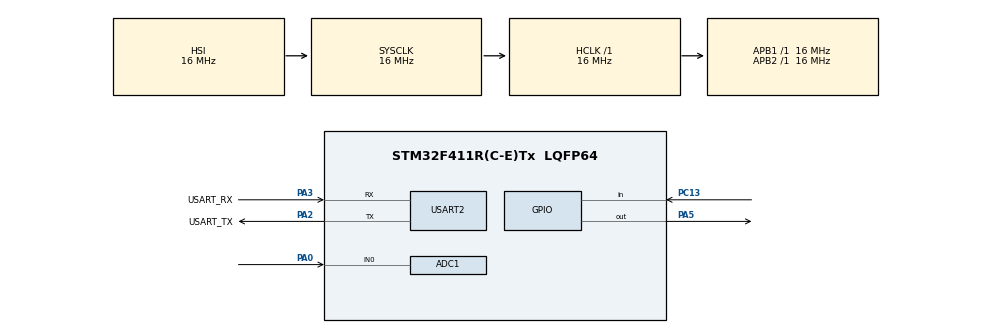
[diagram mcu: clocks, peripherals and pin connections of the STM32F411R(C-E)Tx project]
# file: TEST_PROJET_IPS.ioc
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ADC1.Channel-0\#ChannelRegularConversion=ADC_CHANNEL_0
ADC1.ContinuousConvMode=ENABLE
ADC1.NbrOfConversionFlag=1
ADC1.Rank-0\#ChannelRegularConversion=1
ADC1.SamplingTime-0\#ChannelRegularConversion=ADC_SAMPLETIME_3CYCLES
ADC1.master=1
Mcu.Family=STM32F4
Mcu.Name=STM32F411R(C-E)Tx
Mcu.Package=LQFP64
NVIC.PriorityGroup=NVIC_PRIORITYGROUP_0
NVIC.TIM3_IRQn=true\:0\:0\:false\:false\:true\:true\:true\:true
PA0-WKUP.Signal=ADCx_IN0
PA13.GPIO_Label=TMS
PA13.Mode=Serial_Wire
PA13.Signal=SYS_JTMS-SWDIO
PA14.GPIO_Label=TCK
PA14.Mode=Serial_Wire
PA14.Signal=SYS_JTCK-SWCLK
PA2.GPIO_Label=USART_TX
PA2.Mode=Asynchronous
PA2.Signal=USART2_TX
PA3.GPIO_Label=USART_RX
PA3.Mode=Asynchronous
PA3.Signal=USART2_RX
PA5.Signal=GPIO_Output
PB3.GPIO_Label=SWO
PB3.Signal=SYS_JTDO-SWO
PC13-ANTI_TAMP.Signal=GPIO_Input
PC14-OSC32_IN.Mode=LSE-External-Oscillator
PC14-OSC32_IN.Signal=RCC_OSC32_IN
PC15-OSC32_OUT.Mode=LSE-External-Oscillator
PC15-OSC32_OUT.Signal=RCC_OSC32_OUT
PH0\ -\ OSC_IN.Mode=HSE-External-Clock-Source
PH0\ -\ OSC_IN.Signal=RCC_OSC_IN
PH1\ -\ OSC_OUT.Mode=HSE-External-Clock-Source
PH1\ -\ OSC_OUT.Signal=RCC_OSC_OUT
ProjectManager.HeapSize=0x200
ProjectManager.StackSize=0x400
ProjectManager.TargetToolchain=STM32CubeIDE
RCC.48MHZClocksFreq_Value=32000000
RCC.AHBFreq_Value=16000000
RCC.APB1Freq_Value=16000000
RCC.APB1TimFreq_Value=16000000
RCC.APB2Freq_Value=16000000
RCC.APB2TimFreq_Value=16000000
RCC.CortexFreq_Value=16000000
RCC.FLatency-AdvancedSettings=FLASH_LATENCY_0
RCC.HCLKFreq_Value=16000000
RCC.HSE_VALUE=8000000
RCC.HSI_VALUE=16000000
RCC.PLLI2SM=2
RCC.PLLM=8
RCC.PLLN=64
RCC.SYSCLKFreq_VALUE=16000000
RCC.VCOOutputFreq_Value=128000000
SH.ADCx_IN0.0=ADC1_IN0,IN0
TIM3.Period=10000-1
TIM3.Prescaler=1600-1
USART2.VirtualMode=VM_ASYNC
VP_TIM3_VS_ClockSourceINT.Mode=Internal
board=NUCLEO-F411RE

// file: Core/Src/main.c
/* USER CODE BEGIN Header */
/**
  ******************************************************************************
  * @file           : main.c
  * @brief          : Main program body
  ******************************************************************************
  * @attention
  *
  * Copyright (c) 2023 STMicroelectronics.
  * All rights reserved.
  *
  * This software is licensed under terms that can be found in the LICENSE file
  * in the root directory of this software component.
  * If no LICENSE file comes with this software, it is provided AS-IS.
  *
  ******************************************************************************
  */
/* USER CODE END Header */
#include "main.h"

ADC_HandleTypeDef hadc1;

TIM_HandleTypeDef htim3;

UART_HandleTypeDef huart2;

/* USER CODE BEGIN PV */
double Voltage_Data;
char str[15];
uint32_t ADCValue;
/* USER CODE END PV */

void SystemClock_Config(void);
static void MX_GPIO_Init(void);
static void MX_USART2_UART_Init(void);
static void MX_TIM3_Init(void);
static void MX_ADC1_Init(void);

int main(void)
{

  /* MCU Configuration--------------------------------------------------------*/

  /* Reset of all peripherals, Initializes the Flash interface and the Systick. */
  HAL_Init();

  /* Configure the system clock */
  SystemClock_Config();

  /* Initialize all configured peripherals */
  MX_GPIO_Init();
  MX_USART2_UART_Init();
  MX_TIM3_Init();
  MX_ADC1_Init();
  /* USER CODE BEGIN 2 */
  HAL_TIM_Base_Start_IT(&htim3);
  /* USER CODE END 2 */

  /* Infinite loop */
  /* USER CODE BEGIN WHILE */
  HAL_TIM_Base_Start_IT(&htim3);
  while (1)
  {
	  if (HAL_ADC_PollForConversion(&hadc1, 1000000) == HAL_OK)
	  			{
	  			ADCValue = HAL_ADC_GetValue(&hadc1);
	  			Voltage_Data=	ADCValue*(3.3/4095);
	  			sprintf(str, "Valeur relevé : %d - Voltage : %.2f Vrn", ADCValue, Voltage_Data);
	  			HAL_UART_Transmit_IT(&huart2,(uint8_t*)str,strlen(str));
	  			HAL_Delay(2000);
	  			}
	  else{
		  printf("test");
	  }
    /* USER CODE END WHILE */

  }
}

void SystemClock_Config(void)
{
  RCC_OscInitTypeDef RCC_OscInitStruct = {0};
  RCC_ClkInitTypeDef RCC_ClkInitStruct = {0};

  /** Configure the main internal regulator output voltage
  */
  __HAL_RCC_PWR_CLK_ENABLE();
  __HAL_PWR_VOLTAGESCALING_CONFIG(PWR_REGULATOR_VOLTAGE_SCALE1);

  /** Initializes the RCC Oscillators according to the specified parameters
  * in the RCC_OscInitTypeDef structure.
  */
  RCC_OscInitStruct.OscillatorType = RCC_OSCILLATORTYPE_HSI;
  RCC_OscInitStruct.HSIState = RCC_HSI_ON;
  RCC_OscInitStruct.HSICalibrationValue = RCC_HSICALIBRATION_DEFAULT;
  RCC_OscInitStruct.PLL.PLLState = RCC_PLL_NONE;
  if (HAL_RCC_OscConfig(&RCC_OscInitStruct) != HAL_OK)
  {
    Error_Handler();
  }

  /** Initializes the CPU, AHB and APB buses clocks
  */
  RCC_ClkInitStruct.ClockType = RCC_CLOCKTYPE_HCLK|RCC_CLOCKTYPE_SYSCLK
                              |RCC_CLOCKTYPE_PCLK1|RCC_CLOCKTYPE_PCLK2;
  RCC_ClkInitStruct.SYSCLKSource = RCC_SYSCLKSOURCE_HSI;
  RCC_ClkInitStruct.AHBCLKDivider = RCC_SYSCLK_DIV1;
  RCC_ClkInitStruct.APB1CLKDivider = RCC_HCLK_DIV1;
  RCC_ClkInitStruct.APB2CLKDivider = RCC_HCLK_DIV1;

  if (HAL_RCC_ClockConfig(&RCC_ClkInitStruct, FLASH_LATENCY_0) != HAL_OK)
  {
    Error_Handler();
  }
}

static void MX_ADC1_Init(void)
{

  ADC_ChannelConfTypeDef sConfig = {0};

  /** Configure the global features of the ADC (Clock, Resolution, Data Alignment and number of conversion)
  */
  hadc1.Instance = ADC1;
  hadc1.Init.ClockPrescaler = ADC_CLOCK_SYNC_PCLK_DIV2;
  hadc1.Init.Resolution = ADC_RESOLUTION_12B;
  hadc1.Init.ScanConvMode = DISABLE;
  hadc1.Init.ContinuousConvMode = ENABLE;
  hadc1.Init.DiscontinuousConvMode = DISABLE;
  hadc1.Init.ExternalTrigConvEdge = ADC_EXTERNALTRIGCONVEDGE_NONE;
  hadc1.Init.ExternalTrigConv = ADC_SOFTWARE_START;
  hadc1.Init.DataAlign = ADC_DATAALIGN_RIGHT;
  hadc1.Init.NbrOfConversion = 1;
  hadc1.Init.DMAContinuousRequests = DISABLE;
  hadc1.Init.EOCSelection = ADC_EOC_SINGLE_CONV;
  if (HAL_ADC_Init(&hadc1) != HAL_OK)
  {
    Error_Handler();
  }

  /** Configure for the selected ADC regular channel its corresponding rank in the sequencer and its sample time.
  */
  sConfig.Channel = ADC_CHANNEL_0;
  sConfig.Rank = 1;
  sConfig.SamplingTime = ADC_SAMPLETIME_3CYCLES;
  if (HAL_ADC_ConfigChannel(&hadc1, &sConfig) != HAL_OK)
  {
    Error_Handler();
  }

}

static void MX_TIM3_Init(void)
{

  TIM_ClockConfigTypeDef sClockSourceConfig = {0};
  TIM_MasterConfigTypeDef sMasterConfig = {0};

  htim3.Instance = TIM3;
  htim3.Init.Prescaler = 1600-1;
  htim3.Init.CounterMode = TIM_COUNTERMODE_UP;
  htim3.Init.Period = 10000-1;
  htim3.Init.ClockDivision = TIM_CLOCKDIVISION_DIV1;
  htim3.Init.AutoReloadPreload = TIM_AUTORELOAD_PRELOAD_DISABLE;
  if (HAL_TIM_Base_Init(&htim3) != HAL_OK)
  {
    Error_Handler();
  }
  sClockSourceConfig.ClockSource = TIM_CLOCKSOURCE_INTERNAL;
  if (HAL_TIM_ConfigClockSource(&htim3, &sClockSourceConfig) != HAL_OK)
  {
    Error_Handler();
  }
  sMasterConfig.MasterOutputTrigger = TIM_TRGO_RESET;
  sMasterConfig.MasterSlaveMode = TIM_MASTERSLAVEMODE_DISABLE;
  if (HAL_TIMEx_MasterConfigSynchronization(&htim3, &sMasterConfig) != HAL_OK)
  {
    Error_Handler();
  }

}

static void MX_USART2_UART_Init(void)
{

  huart2.Instance = USART2;
  huart2.Init.BaudRate = 115200;
  huart2.Init.WordLength = UART_WORDLENGTH_8B;
  huart2.Init.StopBits = UART_STOPBITS_1;
  huart2.Init.Parity = UART_PARITY_NONE;
  huart2.Init.Mode = UART_MODE_TX_RX;
  huart2.Init.HwFlowCtl = UART_HWCONTROL_NONE;
  huart2.Init.OverSampling = UART_OVERSAMPLING_16;
  if (HAL_UART_Init(&huart2) != HAL_OK)
  {
    Error_Handler();
  }

}

static void MX_GPIO_Init(void)
{
  GPIO_InitTypeDef GPIO_InitStruct = {0};

  /* GPIO Ports Clock Enable */
  __HAL_RCC_GPIOC_CLK_ENABLE();
  __HAL_RCC_GPIOH_CLK_ENABLE();
  __HAL_RCC_GPIOA_CLK_ENABLE();
  __HAL_RCC_GPIOB_CLK_ENABLE();

  /*Configure GPIO pin Output Level */
  HAL_GPIO_WritePin(GPIOA, GPIO_PIN_5, GPIO_PIN_RESET);

  /*Configure GPIO pin : PC13 */
  GPIO_InitStruct.Pin = GPIO_PIN_13;
  GPIO_InitStruct.Mode = GPIO_MODE_INPUT;
  GPIO_InitStruct.Pull = GPIO_NOPULL;
  HAL_GPIO_Init(GPIOC, &GPIO_InitStruct);

  /*Configure GPIO pin : PA5 */
  GPIO_InitStruct.Pin = GPIO_PIN_5;
  GPIO_InitStruct.Mode = GPIO_MODE_OUTPUT_PP;
  GPIO_InitStruct.Pull = GPIO_NOPULL;
  GPIO_InitStruct.Speed = GPIO_SPEED_FREQ_LOW;
  HAL_GPIO_Init(GPIOA, &GPIO_InitStruct);

}

/* USER CODE BEGIN 4 */
void HAL_TIM_PeriodElapsedCallback(TIM_HandleTypeDef *htim)
{
    if (htim->Instance == htim3.Instance)
    {
        /* Toggle LED */
    	HAL_GPIO_TogglePin(GPIOA, GPIO_PIN_5);
    }
}
/* USER CODE END 4 */

void Error_Handler(void)
{
  __disable_irq();
  while (1)
  {
  }
}
